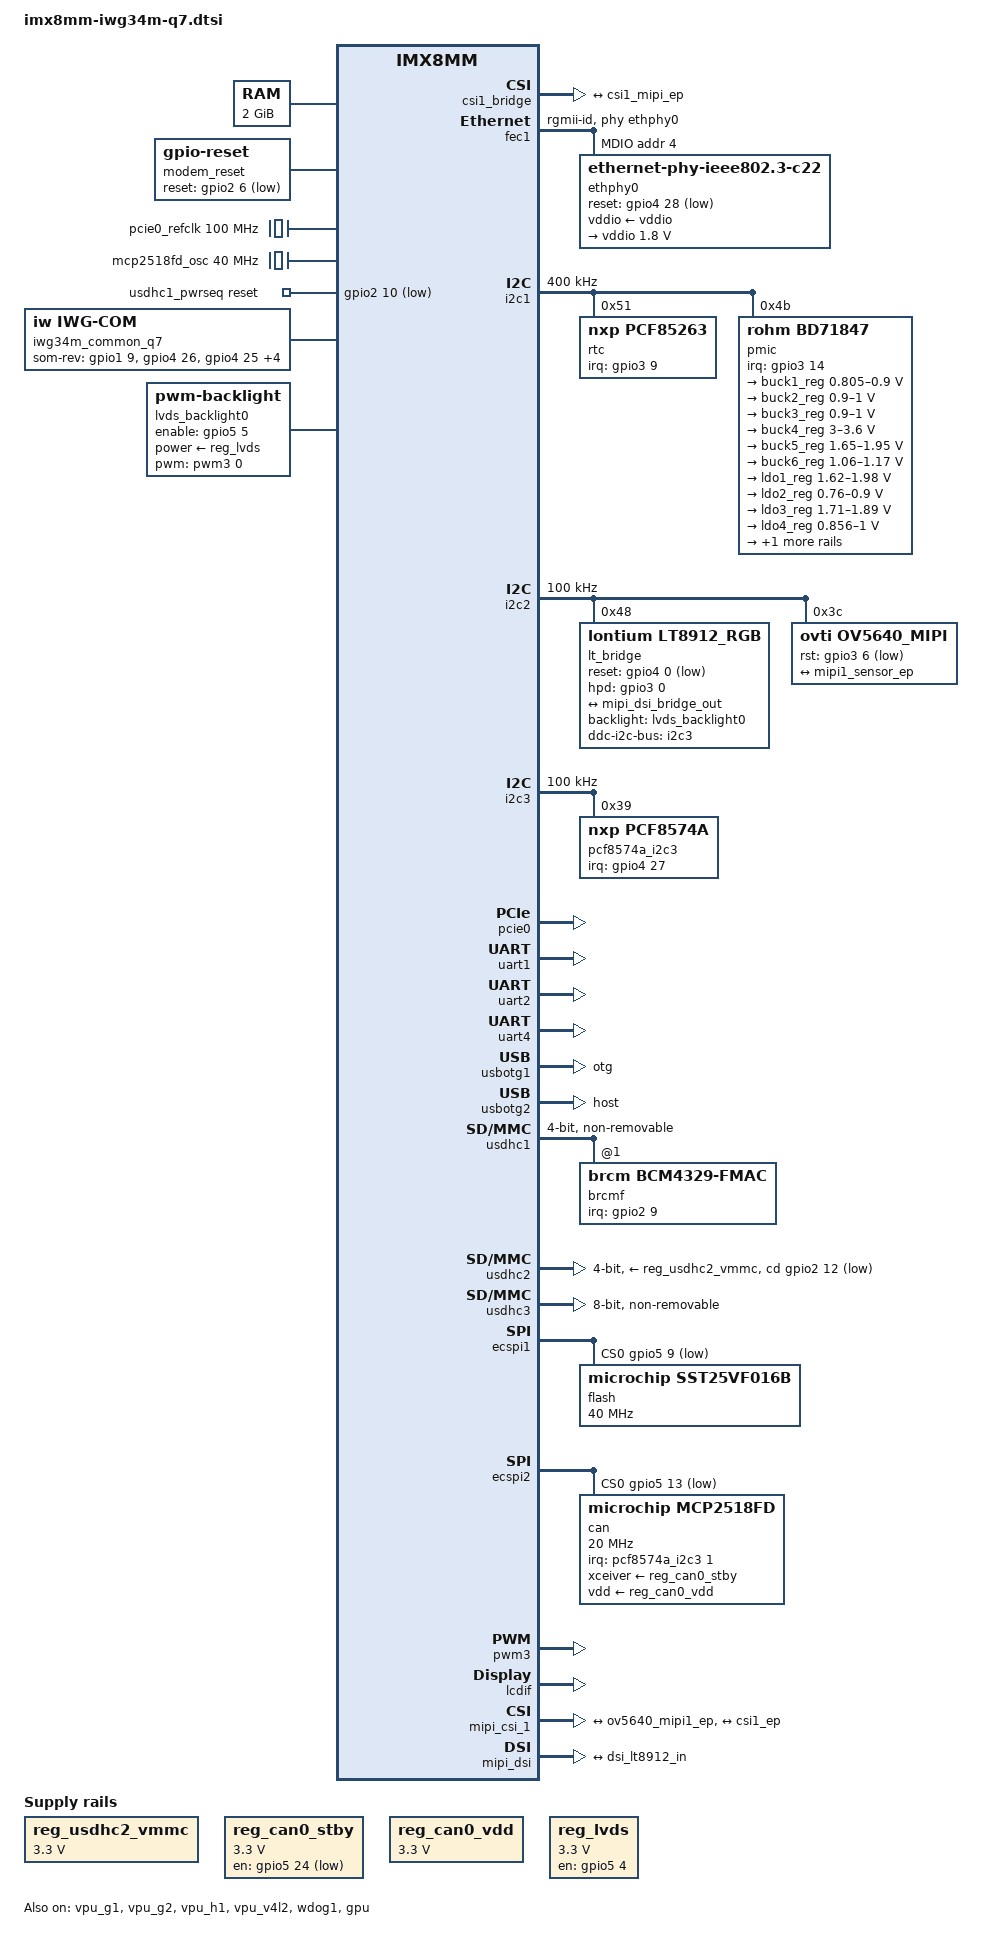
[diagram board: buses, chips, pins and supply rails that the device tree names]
// SPDX-License-Identifier: (GPL-2.0+ OR MIT)
/*
 * Copyright (C) 2022 iWave System Technologies Pvt Ltd.
 *
 * This program is free software; you can redistribute it and/or
 * modify it under the terms of the GNU General Public License
 * as published by the Free Software Foundation; either version 2
 * of the License, or (at your option) any later version.
 *
 * This program is distributed in the hope that it will be useful,
 * but WITHOUT ANY WARRANTY; without even the implied warranty of
 * MERCHANTABILITY or FITNESS FOR A PARTICULAR PURPOSE.  See the
 * GNU General Public License for more details.
 */

/dts-v1/;

#include <dt-bindings/usb/pd.h>
#include "imx8mm.dtsi"

/ {
	chosen {
		stdout-path = &uart4;
	};

	aliases { /* SD/MMC: eMMC/SD slot numbering fix */
		mmc0 = &usdhc3;
		mmc1 = &usdhc2;
		mmc2 = &usdhc1;
	};

	memory@40000000 { /* RAM: 2GB Memory support */
		device_type = "memory";
		reg = <0x0 0x40000000 0 0x80000000>;
	};

	modem_reset: modem-reset { /* BT: BT reset */
		compatible = "gpio-reset";
		reset-gpios = <&gpio2 6 GPIO_ACTIVE_LOW>;
		reset-delay-us = <2000>;
		reset-post-delay-ms = <40>;
		#reset-cells = <0>;
	};

	pcie0_refclk: pcie0-refclk { /* PCIE: Ref clock */
		compatible = "fixed-clock";
		#clock-cells = <0>;
		clock-frequency = <100000000>;
	};

        mcp2518fd_osc: mcp2518fd_osc {
                compatible = "fixed-clock";
                #clock-cells = <0>;
                clock-frequency = <40000000>;
        };

	usdhc1_pwrseq: usdhc1_pwrseq { /* WIFI: WIFI power sequence */
		compatible = "mmc-pwrseq-simple";
		pinctrl-names = "default";
		pinctrl-0 = <&pinctrl_usdhc1_gpio>;
		reset-gpios = <&gpio2 10 GPIO_ACTIVE_LOW>;
	};

	iwg34m_common_q7 { /* SoC Board Setttings : Board Configuration GPIOs and Carrier reset GPIOs */
		compatible = "iw,iwg-com";
		pinctrl-names = "default";
		pinctrl-0 = <&pinctrl_board_cfg>;
		som-rev-gpios = <&gpio1 9 0 &gpio4 26 0 &gpio4 25 0 &gpio5 1 0
                                &gpio1 0 0 &gpio2 19 0 &gpio2 20 0 >;
		carrier_pcb = <0x00>;
		carrier_bom = <0x00>;
		pcb_rev = <0x00>;
		bom_rev = <0x00>;
		status = "okay";
	};

        regulators {
                compatible = "simple-bus";
                #address-cells = <1>;
                #size-cells = <0>;

                reg_usdhc2_vmmc: regulator-usdhc2 { /* USDHC2: Carrier Micro SD: Fixed Regulator */
                        compatible = "regulator-fixed";
                        regulator-name = "VMMC_SD2_3V3";
                        regulator-min-microvolt = <3300000>;
                        regulator-max-microvolt = <3300000>;
                        regulator-always-on;
                };

                reg_can0_stby: regulator-can-stby0 { /* Fixed Regulator: common 3.3V Fixed regulator */
                        compatible = "regulator-fixed";
                        regulator-name = "CAN0_STBY_3P3V";
                        regulator-min-microvolt = <3300000>;
                        regulator-max-microvolt = <3300000>;
                        gpio = <&gpio5 24 GPIO_ACTIVE_LOW>;
                        regulator-always-on;
                };

                reg_can0_vdd: regulator-can-vdd { /* Fixed Regulator: common 3.3V Fixed regulator */
                        compatible = "regulator-fixed";
                        regulator-name = "CAN0_STBY_3P3V_VDD";
                        regulator-min-microvolt = <3300000>;
                        regulator-max-microvolt = <3300000>;
                        regulator-always-on;
                };

                reg_lvds: reg_lvds {
                        compatible = "regulator-fixed";
                        regulator-name = "1P8V_LVDS";
                        regulator-min-microvolt = <3300000>;
                        regulator-max-microvolt = <3300000>;
                        regulator-always-on;
                        pinctrl-names = "default";
                        pinctrl-0 = <&pinctrl_backlight>;
                        gpio = <&gpio5 4 GPIO_ACTIVE_HIGH>;
                        enable-active-high;
                };
        };
	
        lvds_backlight0: lvds_backlight {
                compatible = "pwm-backlight";
                pwms = <&pwm3 0 1000000 0>;
                power-supply = <&reg_lvds>;
                pinctrl-names = "default";
                pinctrl-0 = <&pinctrl_pwr>;
                enable-gpios = <&gpio5 5 GPIO_ACTIVE_HIGH>;
                status = "okay";

                brightness-levels = < 0  1  2  3  4  5  6  7  8  9
                        10 11 12 13 14 15 16 17 18 19
                        20 21 22 23 24 25 26 27 28 29
                        30 31 32 33 34 35 36 37 38 39
                        40 41 42 43 44 45 46 47 48 49
                        50 51 52 53 54 55 56 57 58 59
                        60 61 62 63 64 65 66 67 68 69
                        70 71 72 73 74 75 76 77 78 79
                        80 81 82 83 84 85 86 87 88 89
                        90 91 92 93 94 95 96 97 98 99
                        100>;
                default-brightness-level = <100>;
        };
};

&csi1_bridge {
        fsl,mipi-mode;
        status = "okay";
        port {
                csi1_ep: endpoint {
                        remote-endpoint = <&csi1_mipi_ep>;
                };
        };
};

&ddrc {
        operating-points-v2 = <&ddrc_opp_table>;

        ddrc_opp_table: opp-table {
                compatible = "operating-points-v2";

                opp-25M {
                        opp-hz = /bits/ 64 <25000000>;
                };

                opp-100M {
                        opp-hz = /bits/ 64 <100000000>;
                };

                opp-750M {
                        opp-hz = /bits/ 64 <750000000>;
                };
        };
};

&A53_0 {
	cpu-supply = <&buck2_reg>;
};

&A53_1 {
        cpu-supply = <&buck2_reg>;
};

&A53_2 {
        cpu-supply = <&buck2_reg>;
};

&A53_3 {
        cpu-supply = <&buck2_reg>;
};

&fec1 { /* FEC1: AR8031 PHY ENET */
	pinctrl-names = "default";
	pinctrl-0 = <&pinctrl_fec1>;
	phy-mode = "rgmii-id";
	phy-handle = <&ethphy0>;
	fsl,magic-packet;
	status = "okay";

	mdio {
		#address-cells = <1>;
		#size-cells = <0>;

		ethphy0: ethernet-phy@4 {
			compatible = "ethernet-phy-ieee802.3-c22";
                        reg = <4>;
                        reset-gpios = <&gpio4 28 GPIO_ACTIVE_LOW>;
                        qca,disable-smarteee;
                        vddio-supply = <&vddio>;

                        vddio: vddio-regulator {
                                regulator-min-microvolt = <1800000>;
                                regulator-max-microvolt = <1800000>;
                        };
		};
	};
};

&i2c1 { /* I2C: I2C1 Bus */
	clock-frequency = <400000>;
	pinctrl-names = "default";
	pinctrl-0 = <&pinctrl_i2c1>;
	status = "okay";

	rtc: rtc@51 { /* RTC: PCF85263 RTC */
		compatible = "nxp,pcf85263";
		reg = <0x51>;
		pinctrl-names = "default";
		pinctrl-0 = <&pinctrl_rtc>;
		interrupt-parent = <&gpio3>;
		interrupts = <9 IRQ_TYPE_LEVEL_LOW>;
		status = "okay";
	};

	pmic: pmic@4b { /* PMIC: PMIC BD71847MWV */
		compatible = "rohm,bd71847";
		reg = <0x4b>;
		pinctrl-0 = <&pinctrl_pmic>;
		pinctrl-names = "default";
		interrupt-parent = <&gpio3>;
		interrupts = <14 GPIO_ACTIVE_LOW>;
		rohm,reset-snvs-powered;

		#clock-cells = <0>;
		clocks = <&osc_32k 0>;
		clock-output-names = "clk-32k-out";

		regulators {
			buck1_reg: BUCK1 {
				regulator-name = "BUCK1";
				regulator-min-microvolt = <805000>;
				regulator-max-microvolt = <900000>;
				regulator-boot-on;
				regulator-always-on;
				regulator-ramp-delay = <1250>;
				rohm,dvs-run-voltage = <850000>;
				rohm,dvs-idle-voltage = <850000>;
			};

			buck2_reg: BUCK2 {
				regulator-name = "BUCK2";
				regulator-min-microvolt = <900000>;
				regulator-max-microvolt = <1000000>;
				regulator-boot-on;
				regulator-always-on;
				regulator-ramp-delay = <1250>;
				rohm,dvs-run-voltage = <950000>;
				rohm,dvs-idle-voltage = <950000>;
			};

			buck3_reg: BUCK3 {
				// BUCK5 in datasheet
				regulator-name = "BUCK3";
				regulator-min-microvolt = <900000>;
				regulator-max-microvolt = <1000000>;
				regulator-boot-on;
				regulator-always-on;
			};

			buck4_reg: BUCK4 {
				// BUCK6 in datasheet
				regulator-name = "BUCK4";
				regulator-min-microvolt = <3000000>;
				regulator-max-microvolt = <3600000>;
				regulator-boot-on;
				regulator-always-on;
			};

			buck5_reg: BUCK5 {
				// BUCK7 in datasheet
				regulator-name = "BUCK5";
				regulator-min-microvolt = <1650000>;
				regulator-max-microvolt = <1950000>;
				regulator-boot-on;
				regulator-always-on;
			};

			buck6_reg: BUCK6 {
				// BUCK8 in datasheet
				regulator-name = "BUCK6";
				regulator-min-microvolt = <1060000>;
				regulator-max-microvolt = <1170000>;
				regulator-boot-on;
				regulator-always-on;
			};

			ldo1_reg: LDO1 {
				regulator-name = "LDO1";
				regulator-min-microvolt = <1620000>;
				regulator-max-microvolt = <1980000>;
				regulator-boot-on;
				regulator-always-on;
			};

			ldo2_reg: LDO2 {
				regulator-name = "LDO2";
				regulator-min-microvolt = <760000>;
				regulator-max-microvolt = <900000>;
				regulator-boot-on;
				regulator-always-on;
			};

			ldo3_reg: LDO3 {
				regulator-name = "LDO3";
				regulator-min-microvolt = <1710000>;
				regulator-max-microvolt = <1890000>;
				regulator-boot-on;
				regulator-always-on;
			};

			ldo4_reg: LDO4 {
				regulator-name = "LDO4";
				regulator-min-microvolt = <855500>;
				regulator-max-microvolt = <1000000>;
				regulator-boot-on;
				regulator-always-on;
			};

			ldo6_reg: LDO6 {
				regulator-name = "LDO6";
				regulator-min-microvolt = <1140000>;
				regulator-max-microvolt = <1260000>;
				regulator-boot-on;
				regulator-always-on;
			};
		};
	};
};

&i2c2 { /* I2C: I2C2 Bus */
	clock-frequency = <100000>;
	pinctrl-names = "default";
	pinctrl-0 = <&pinctrl_i2c2>;
	status = "okay";

        lt_bridge: lt8912@48 {
                compatible = "lontium,lt8912_rgb";
                reg = <0x48>;
                pinctrl-names = "default";
                pinctrl-0 = <&pinctrl_lt8912>;
                ddc-i2c-bus = <&i2c3>;
                reset-gpios = <&gpio4 0 GPIO_ACTIVE_LOW>;
                hpd-gpios = <&gpio3 0 GPIO_ACTIVE_HIGH>;
                digi,dsi-lanes = <4>;
                backlight = <&lvds_backlight0>;
                status = "okay";

                display-timings {
                native-mode = <&timing0>;

        timing0: timing0 {
                clock-frequency = <33264000>;
                hactive = <800>;
                vactive = <480>;
                hback-porch = <88>;
                hfront-porch = <40>;
                vback-porch = <33>;
                vfront-porch = <10>;
                hsync-len = <128>;
                vsync-len = <2>;
                hsync-active = <0>;
                vsync-active = <0>;
                de-active = <0>;
                pixelclk-active = <0>;
                };
        };

        port {
			dsi_lt8912_in: endpoint {
                        remote-endpoint = <&mipi_dsi_bridge_out>;
                        };
                };
        };
	
        ov5640_mipi: ov5640_mipi@3c { /* MIPI CSI: OV5640 Camera */
                compatible = "ovti,ov5640_mipi";
                reg = <0x3c>;
                status = "okay";
                pinctrl-names = "default";
                pinctrl-0 = <&pinctrl_csi_rst>;
                clocks = <&clk IMX8MM_CLK_CLKO1>;
                clock-names = "csi_mclk";
                assigned-clocks = <&clk IMX8MM_CLK_CLKO1>;
                assigned-clock-parents = <&clk IMX8MM_CLK_24M>;
                assigned-clock-rates = <24000000>;
                csi_id = <0>;
                rst-gpios = <&gpio3 6 GPIO_ACTIVE_LOW>;
                mclk = <24000000>;
                mclk_source = <0>;
                        port {
                               ov5640_mipi1_ep: endpoint {
                               remote-endpoint = <&mipi1_sensor_ep>;
                        };
                };
        };
};

&i2c3 { /* I2C: I2C3 Bus */
        clock-frequency = <100000>;
        pinctrl-names = "default";
        pinctrl-0 = <&pinctrl_i2c3>;
        status = "okay";

        pcf8574a_i2c3: gpio@39 {
                compatible = "nxp,pcf8574a";
                reg = <0x39>;
                pinctrl-names = "default";
                pinctrl-0 = <&pinctrl_io>;
                wakeup-source;
                gpio-controller;
                #gpio-cells=<2>;
                interrupt-controller;
                #interrupt-cells=<2>;
                interrupt-parent = <&gpio4>;
                interrupts = <27 IRQ_TYPE_LEVEL_LOW>;
                status="okay";
        };
};

&pcie0{ /* PCIE: PCIe0 */
	pinctrl-names = "default";
	pinctrl-0 = <&pinctrl_pcie0>;
	disable-gpio = <&gpio1 11 GPIO_ACTIVE_LOW>;
	clocks = <&clk IMX8MM_CLK_PCIE1_ROOT>,
		 <&clk IMX8MM_CLK_PCIE1_AUX>,
		 <&clk IMX8MM_CLK_PCIE1_PHY>,
		 <&pcie0_refclk>;
	clock-names = "pcie", "pcie_aux", "pcie_phy", "pcie_bus";
	assigned-clocks = <&clk IMX8MM_CLK_PCIE1_AUX>,
			  <&clk IMX8MM_CLK_PCIE1_PHY>,
			  <&clk IMX8MM_CLK_PCIE1_CTRL>;
	assigned-clock-rates = <10000000>, <100000000>, <250000000>;
	assigned-clock-parents = <&clk IMX8MM_SYS_PLL2_50M>,
				 <&clk IMX8MM_SYS_PLL2_100M>,
				 <&clk IMX8MM_SYS_PLL2_250M>;
	ext_osc = <0>;
	status = "okay";
};

&uart1 { /* UART1: Bluetooth */
	pinctrl-names = "default";
	pinctrl-0 = <&pinctrl_uart1>;
	assigned-clocks = <&clk IMX8MM_CLK_UART1>;
	assigned-clock-parents = <&clk IMX8MM_SYS_PLL1_80M>;
	fsl,uart-has-rtscts;
	resets = <&modem_reset>;
	status = "okay";
};

&uart2 { /* UART2: Data UART */
	pinctrl-names = "default";
	pinctrl-0 = <&pinctrl_uart2>;
	assigned-clocks = <&clk IMX8MM_CLK_UART2>;
	assigned-clock-parents = <&clk IMX8MM_SYS_PLL1_80M>;
	fsl,uart-has-rtscts;
	status = "okay";
};

&uart3 { /* UART3: M4 UART */
	pinctrl-names = "default";
	pinctrl-0 = <&pinctrl_uart3>;
	assigned-clocks = <&clk IMX8MM_CLK_UART3>;
	assigned-clock-parents = <&clk IMX8MM_SYS_PLL1_80M>;
	status = "disabled";
};

&uart4 { /* UART4: Debug UART */
	pinctrl-names = "default";
	pinctrl-0 = <&pinctrl_uart4>;
	status = "okay";
};

&usbotg1 { /* USB1: USB OTG */
	pinctrl-names = "default";
	pinctrl-0 = <&pinctrl_usbotg1>;
	otg-pwr-gpio = <&gpio1 12 GPIO_ACTIVE_LOW>;
	otg-oc-gpio = <&gpio1 13 GPIO_ACTIVE_LOW>;
	dr_mode = "otg";
        hnp-disable;
        srp-disable;
        adp-disable;
	samsung,picophy-pre-emp-curr-control = <3>;
	samsung,picophy-dc-vol-level-adjust = <7>;
	status = "okay";
};

&usbotg2 { /* USB2: USB Host (2 ports via HUB) */
	pinctrl-names = "default";
        pinctrl-0 = <&pinctrl_usbotg2>;
	dr_mode = "host";
	disable-over-current;
	status = "okay";
};

&usdhc1 { /* USDHC1: WiFi */
	#address-cells = <1>;
	#size-cells = <0>;
	pinctrl-names = "default", "state_100mhz", "state_200mhz";
	pinctrl-0 = <&pinctrl_usdhc1>, <&pinctrl_wlan>;
	pinctrl-1 = <&pinctrl_usdhc1_100mhz>, <&pinctrl_wlan>;
	pinctrl-2 = <&pinctrl_usdhc1_200mhz>, <&pinctrl_wlan>;
	bus-width = <4>;
	pm-ignore-notify;
	keep-power-in-suspend;
	non-removable;
	cap-power-off-card;
	mmc-pwrseq = <&usdhc1_pwrseq>;
	status = "okay";

	brcmf: bcrmf@1 {
		reg = <1>;
		compatible = "brcm,bcm4329-fmac";
		interrupt-parent = <&gpio2>;
		interrupts = <9 IRQ_TYPE_LEVEL_HIGH>;
		interrupt-names = "host-wake";
		status = "okay";
	};
};

&usdhc2 { /* USDHC2: Carrier Micro SD */
	pinctrl-names = "default", "state_100mhz", "state_200mhz";
	pinctrl-0 = <&pinctrl_usdhc2>, <&pinctrl_usdhc2_gpio>;
	pinctrl-1 = <&pinctrl_usdhc2_100mhz>, <&pinctrl_usdhc2_gpio>;
	pinctrl-2 = <&pinctrl_usdhc2_200mhz>, <&pinctrl_usdhc2_gpio>;
	no-1-8-v; /* Carrier board supports only Highspeed mode */
	cd-gpios = <&gpio2 12 GPIO_ACTIVE_LOW>;
	bus-width = <4>;
	vmmc-supply = <&reg_usdhc2_vmmc>;
	status = "okay";
};

&usdhc3 {  /* USDHC3: EMMC */
	pinctrl-names = "default", "state_100mhz", "state_200mhz";
	pinctrl-0 = <&pinctrl_usdhc3>;
	pinctrl-1 = <&pinctrl_usdhc3_100mhz>;
	pinctrl-2 = <&pinctrl_usdhc3_200mhz>;
	bus-width = <8>;
	non-removable;
	status = "okay";
};

&vpu_g1 {
	status = "okay";
};

&vpu_g2 {
	status = "okay";
};

&vpu_h1 {
	status = "okay";
};

&vpu_v4l2 {
	status = "okay";
};

&wdog1 { /* Watchdog */
	pinctrl-names = "default";
	pinctrl-0 = <&pinctrl_wdog>;
	fsl,ext-reset-output;
	status = "okay";
};

&gpu { /* GPU */
	status = "okay";
};

&ecspi1 { /* ECSPI1: Accessed through Expansion, not mounted by default */
	fsl,spi-num-chipselects = <1>;
	pinctrl-names = "default";
	pinctrl-0 = <&pinctrl_ecspi1>;
	cs-gpios = <&gpio5 9 GPIO_ACTIVE_LOW>;
	status = "okay";

        flash: m25p80@0 {
                #address-cells = <1>;
                #size-cells = <1>;
                compatible = "microchip,sst25vf016b", "jedec,spi-nor";
                spi-max-frequency = <40000000>;
                reg = <0>;
        };
};

&ecspi2 {
        #address-cells = <1>;
        #size-cells = <0>;
        pinctrl-names = "default";
        pinctrl-0 = <&pinctrl_ecspi2>;
        spi-max-frequency = <20000000>;
        cs-gpios = <&gpio5 13 GPIO_ACTIVE_LOW>;
        fsl,spi-num-chipselects = <1>;
        status = "okay";

        can: can@0 {
                reg = <0>;
                compatible = "microchip,mcp2518fd";
                pinctrl-names = "default";
                spi-max-frequency = <20000000>;
                interrupt-parent = <&pcf8574a_i2c3>;
                interrupts = <1 IRQ_TYPE_LEVEL_LOW>;
                microchip,clock-always-on;
                microchip,clock-out-div = <1>;
                clocks = <&mcp2518fd_osc>;
                xceiver-supply = <&reg_can0_stby>;
                vdd-supply = <&reg_can0_vdd>;
                microchip,gpio0-xstandby;
        };
};

&pwm3 { /* PWM: PWM3 Control */
	pinctrl-names = "default";
	pinctrl-0 = <&pinctrl_pwm3>;
        status = "okay";
};

&lcdif {
        status = "okay";
};

&mipi_csi_1 { /* MIPI CSI: OV5640 MIPI Camera */
        #address-cells = <1>;
        #size-cells = <0>;
        status = "okay";
        port {
                mipi1_sensor_ep: endpoint@1 {
                        remote-endpoint = <&ov5640_mipi1_ep>;
                        data-lanes = <2>;
                        csis-hs-settle = <13>;
                        csis-clk-settle = <2>;
                        csis-wclk;
                };

                csi1_mipi_ep: endpoint@2 {
                        remote-endpoint = <&csi1_ep>;
                };
        };
};

&mipi_dsi { /* MIPI DSI: MIPI To HDMI Bridge*/
        status = "okay";

        port@1 {
                mipi_dsi_bridge_out: endpoint {
                        remote-endpoint = <&dsi_lt8912_in>;
                        attach-bridge;
                };
        };
};

&iomuxc {

	imx8mm-iwg34m-q7 {

		pinctrl_fec1: fec1grp { /* Ethernet: IOMUX Pin Configuration */
			fsl,pins = <
				MX8MM_IOMUXC_ENET_MDC_ENET1_MDC			0x3
				MX8MM_IOMUXC_ENET_MDIO_ENET1_MDIO		0x3
				MX8MM_IOMUXC_ENET_TD3_ENET1_RGMII_TD3		0x1f
				MX8MM_IOMUXC_ENET_TD2_ENET1_RGMII_TD2		0x1f
				MX8MM_IOMUXC_ENET_TD1_ENET1_RGMII_TD1		0x1f
				MX8MM_IOMUXC_ENET_TD0_ENET1_RGMII_TD0		0x1f
				MX8MM_IOMUXC_ENET_RD3_ENET1_RGMII_RD3		0x91
				MX8MM_IOMUXC_ENET_RD2_ENET1_RGMII_RD2		0x91
				MX8MM_IOMUXC_ENET_RD1_ENET1_RGMII_RD1		0x91
				MX8MM_IOMUXC_ENET_RD0_ENET1_RGMII_RD0		0x91
				MX8MM_IOMUXC_ENET_TXC_ENET1_RGMII_TXC		0x1f
				MX8MM_IOMUXC_ENET_RXC_ENET1_RGMII_RXC		0x91
				MX8MM_IOMUXC_ENET_RX_CTL_ENET1_RGMII_RX_CTL	0x91
				MX8MM_IOMUXC_ENET_TX_CTL_ENET1_RGMII_TX_CTL	0x1f
                                MX8MM_IOMUXC_SAI5_RXC_GPIO3_IO20                0x19 /* Ethernet Wake on LAN */
                                MX8MM_IOMUXC_SAI5_RXFS_GPIO3_IO19               0x19 /* Ethernet Interrup */
				MX8MM_IOMUXC_SAI3_RXFS_GPIO4_IO28		0x19 /* Ethernet Reset GPIO */
			>;
		};

		pinctrl_i2c1: i2c1grp { /* I2C1: IOMUX Pin Configuration */
			fsl,pins = <
				MX8MM_IOMUXC_I2C1_SCL_I2C1_SCL			0x400001c3
				MX8MM_IOMUXC_I2C1_SDA_I2C1_SDA			0x400001c3
			>;
		};

		pinctrl_i2c2: i2c2grp { /* I2C2: IOMUX Pin Configuration */
                        fsl,pins = <
                                MX8MM_IOMUXC_I2C2_SCL_I2C2_SCL                  0x400001c3
                                MX8MM_IOMUXC_I2C2_SDA_I2C2_SDA                  0x400001c3
                        >;
                };

                pinctrl_i2c3: i2c3grp { /* I2C3: IOMUX Pin Configuration */
                        fsl,pins = <
                                MX8MM_IOMUXC_I2C3_SCL_I2C3_SCL                  0x400001c3
                                MX8MM_IOMUXC_I2C3_SDA_I2C3_SDA                  0x400001c3
                        >;
                };

		pinctrl_pcie0: pcie0grp { /* PCIe0: IOMUX Pin Configuration */
			fsl,pins = <
                                MX8MM_IOMUXC_I2C4_SCL_PCIE1_CLKREQ_B            0x61 /* open drain, pull up */
				MX8MM_IOMUXC_GPIO1_IO11_GPIO1_IO11		0x41 /* Disable GPIO */
			>;
		};

		pinctrl_pmic: pmicirq { /* PMIC: IOMUX Pin Configuration */
			fsl,pins = <
				MX8MM_IOMUXC_NAND_DQS_GPIO3_IO14		0x41 /* PMIC Interrupt GPIO */
			>;
		};

		pinctrl_rtc: rtcirq { /* RTC: IOMUX Pin Configuration */
			fsl,pins = <
				MX8MM_IOMUXC_NAND_DATA03_GPIO3_IO9		0x41 /* RTC Interrupt GPIO */
			>;
		};
	
                pinctrl_lt8912: lt8912grp {
                        fsl,pins = <
                                MX8MM_IOMUXC_NAND_ALE_GPIO3_IO0                 0x19 /* Interrupt GPIO */
                                MX8MM_IOMUXC_SAI1_RXFS_GPIO4_IO0                0x19 /* Reset GPIO */
                        >;
                };
		
                pinctrl_csi_rst: csi_rst_grp { /* MIPI CSI: OV5640 Camera IOMUX Pin Configuration */
                        fsl,pins = <
                                MX8MM_IOMUXC_NAND_DATA00_GPIO3_IO6              0x19 /* MIPI OV5640 Camera Reset GPIO */
                                MX8MM_IOMUXC_NAND_DATA02_GPIO3_IO8              0x19
                        >;
                };
		
                pinctrl_io: iogrp { /* IO expander Pin Configuration */
                        fsl,pins = <
                                MX8MM_IOMUXC_SAI2_MCLK_GPIO4_IO27               0x41
                        >;
                };
	
                pinctrl_backlight: backlight_grp {
                        fsl,pins = <
                                MX8MM_IOMUXC_SPDIF_EXT_CLK_GPIO5_IO5            0x41
                        >;
                };
	
                pinctrl_pwr: pwr_grp {
                        fsl,pins = <
                                MX8MM_IOMUXC_SPDIF_RX_GPIO5_IO4                 0x41
                        >;
                };

		pinctrl_uart1: uart1grp { /* UART1: Bluetooth: IOMUX Pin Configuration */
			fsl,pins = <
                                MX8MM_IOMUXC_SAI2_RXFS_UART1_TX                 0x140
                                MX8MM_IOMUXC_SAI2_RXC_UART1_RX                  0x140
                                MX8MM_IOMUXC_SAI2_RXD0_UART1_RTS_B              0x140
                                MX8MM_IOMUXC_SAI2_TXFS_UART1_CTS_B              0x140
                                MX8MM_IOMUXC_SD1_DATA4_GPIO2_IO6                0x19 /* Bluetooth Reset GPIO */
			>;
		};

		pinctrl_uart2: uart2grp { /* UART2: DATA UART: IOMUX Pin Configuration */
                        fsl,pins = <
                                MX8MM_IOMUXC_SAI3_TXC_UART2_TX                  0x140
                                MX8MM_IOMUXC_SAI3_TXFS_UART2_RX                 0x140
                                MX8MM_IOMUXC_SAI3_RXC_UART2_CTS_B               0x140
                                MX8MM_IOMUXC_SAI3_RXD_UART2_RTS_B               0x140
                        >;
                };

		pinctrl_uart3: uart3grp { /* UART4: M4 UART */
			fsl,pins = <
				MX8MM_IOMUXC_UART3_TXD_UART3_DCE_TX		0x140
				MX8MM_IOMUXC_UART3_RXD_UART3_DCE_RX		0x140
			>;
		};

		pinctrl_uart4: uart4grp { /* UART4: Debug UART: IOMUX Pin Configuration */
			fsl,pins = <
				MX8MM_IOMUXC_UART4_RXD_UART4_DCE_RX		0x140
				MX8MM_IOMUXC_UART4_TXD_UART4_DCE_TX		0x140
			>;
		};

		pinctrl_usdhc1: usdhc1grp { /* USDHC1: SOM Micro SD/WiFi: IOMUX Pin Configuration */
			fsl,pins = <
				MX8MM_IOMUXC_SD1_CLK_USDHC1_CLK         	0x190
				MX8MM_IOMUXC_SD1_CMD_USDHC1_CMD         	0x1d0
				MX8MM_IOMUXC_SD1_DATA0_USDHC1_DATA0     	0x1d0
				MX8MM_IOMUXC_SD1_DATA1_USDHC1_DATA1     	0x1d0
				MX8MM_IOMUXC_SD1_DATA2_USDHC1_DATA2     	0x1d0
				MX8MM_IOMUXC_SD1_DATA3_USDHC1_DATA3     	0x1d0
                                MX8MM_IOMUXC_SD1_STROBE_GPIO2_IO11      	0x159
                                MX8MM_IOMUXC_GPIO1_IO03_GPIO1_IO3       	0x016
			>;
		};

		pinctrl_usdhc1_100mhz: usdhc1grp100mhz {
			fsl,pins = <
				MX8MM_IOMUXC_SD1_CLK_USDHC1_CLK         	0x194
				MX8MM_IOMUXC_SD1_CMD_USDHC1_CMD         	0x1d4
				MX8MM_IOMUXC_SD1_DATA0_USDHC1_DATA0     	0x1d4
				MX8MM_IOMUXC_SD1_DATA1_USDHC1_DATA1     	0x1d4
				MX8MM_IOMUXC_SD1_DATA2_USDHC1_DATA2     	0x1d4
				MX8MM_IOMUXC_SD1_DATA3_USDHC1_DATA3     	0x1d4
                                MX8MM_IOMUXC_SD1_STROBE_GPIO2_IO11      	0x159
                                MX8MM_IOMUXC_GPIO1_IO03_GPIO1_IO3       	0x016
			>;
		};

		pinctrl_usdhc1_200mhz: usdhc1grp200mhz {
			fsl,pins = <
				MX8MM_IOMUXC_SD1_CLK_USDHC1_CLK			0x196
				MX8MM_IOMUXC_SD1_CMD_USDHC1_CMD			0x1d6
				MX8MM_IOMUXC_SD1_DATA0_USDHC1_DATA0		0x1d6
				MX8MM_IOMUXC_SD1_DATA1_USDHC1_DATA1		0x1d6
				MX8MM_IOMUXC_SD1_DATA2_USDHC1_DATA2		0x1d6
				MX8MM_IOMUXC_SD1_DATA3_USDHC1_DATA3		0x1d6
                                MX8MM_IOMUXC_SD1_STROBE_GPIO2_IO11      	0x159
                                MX8MM_IOMUXC_GPIO1_IO03_GPIO1_IO3       	0x016
			>;
		};
	
		pinctrl_usdhc1_gpio: usdhc1grpgpio { /* USDHC1: WiFi: Reset GPIO IOMUX Pin Configuration */
			fsl,pins = <
				MX8MM_IOMUXC_SD1_RESET_B_GPIO2_IO10		0x41 /* WIFI Reset GPIO */
			>;
		};

		pinctrl_wlan: wlangrp { /* WiFi: IOMUX Pin Configuration */
                        fsl,pins = <
                                MX8MM_IOMUXC_SD1_DATA7_GPIO2_IO9                0x111 /* WIFI Host Wake GPIO */
                        >;
                };

		pinctrl_usdhc2: usdhc2grp { /* USDHC2: Carrier Micro SD: IOMUX Pin Configuration */
			fsl,pins = <
				MX8MM_IOMUXC_SD2_CLK_USDHC2_CLK			0x190
				MX8MM_IOMUXC_SD2_CMD_USDHC2_CMD			0x1d0
				MX8MM_IOMUXC_SD2_DATA0_USDHC2_DATA0		0x1d0
				MX8MM_IOMUXC_SD2_DATA1_USDHC2_DATA1		0x1d0
				MX8MM_IOMUXC_SD2_DATA2_USDHC2_DATA2		0x1d0
				MX8MM_IOMUXC_SD2_DATA3_USDHC2_DATA3		0x1d0
				MX8MM_IOMUXC_GPIO1_IO04_USDHC2_VSELECT  	0x1d0
			>;
		};

		pinctrl_usdhc2_100mhz: usdhc2grp100mhz {
			fsl,pins = <
				MX8MM_IOMUXC_SD2_CLK_USDHC2_CLK			0x194
				MX8MM_IOMUXC_SD2_CMD_USDHC2_CMD			0x1d4
				MX8MM_IOMUXC_SD2_DATA0_USDHC2_DATA0		0x1d4
				MX8MM_IOMUXC_SD2_DATA1_USDHC2_DATA1		0x1d4
				MX8MM_IOMUXC_SD2_DATA2_USDHC2_DATA2		0x1d4
				MX8MM_IOMUXC_SD2_DATA3_USDHC2_DATA3		0x1d4
				MX8MM_IOMUXC_GPIO1_IO04_USDHC2_VSELECT  	0x1d0
			>;
		};

		pinctrl_usdhc2_200mhz: usdhc2grp200mhz {
			fsl,pins = <
				MX8MM_IOMUXC_SD2_CLK_USDHC2_CLK			0x196
				MX8MM_IOMUXC_SD2_CMD_USDHC2_CMD			0x1d6
				MX8MM_IOMUXC_SD2_DATA0_USDHC2_DATA0		0x1d6
				MX8MM_IOMUXC_SD2_DATA1_USDHC2_DATA1		0x1d6
				MX8MM_IOMUXC_SD2_DATA2_USDHC2_DATA2		0x1d6
				MX8MM_IOMUXC_SD2_DATA3_USDHC2_DATA3		0x1d6
				MX8MM_IOMUXC_GPIO1_IO04_USDHC2_VSELECT  	0x1d0
			>;
		};

		pinctrl_usdhc2_gpio: usdhc2grpgpio { /* USDHC2: Carrier Micro SD: Card Detect GPIO IOMUX Pin Configuration */
			fsl,pins = <
                                MX8MM_IOMUXC_SD2_CD_B_GPIO2_IO12        	0x41 /* SD2 Card Detect GPIO */
                                MX8MM_IOMUXC_GPIO1_IO01_GPIO1_IO1       	0x41
			>;
		};

		pinctrl_usdhc3: usdhc3grp { /* USDHC3: EMMC: IOMUX Pin Configuration*/
			fsl,pins = <
				MX8MM_IOMUXC_NAND_WE_B_USDHC3_CLK		0x190
				MX8MM_IOMUXC_NAND_WP_B_USDHC3_CMD		0x1d0
				MX8MM_IOMUXC_NAND_DATA04_USDHC3_DATA0		0x1d0
				MX8MM_IOMUXC_NAND_DATA05_USDHC3_DATA1		0x1d0
				MX8MM_IOMUXC_NAND_DATA06_USDHC3_DATA2		0x1d0
				MX8MM_IOMUXC_NAND_DATA07_USDHC3_DATA3		0x1d0
				MX8MM_IOMUXC_NAND_RE_B_USDHC3_DATA4		0x1d0
				MX8MM_IOMUXC_NAND_CE2_B_USDHC3_DATA5		0x1d0
				MX8MM_IOMUXC_NAND_CE3_B_USDHC3_DATA6		0x1d0
				MX8MM_IOMUXC_NAND_CLE_USDHC3_DATA7		0x1d0
				MX8MM_IOMUXC_NAND_READY_B_USDHC3_RESET_B	0x1d0	
				MX8MM_IOMUXC_NAND_CE1_B_USDHC3_STROBE		0x190
			>;
		};

		pinctrl_usdhc3_100mhz: usdhc3grp100mhz {
			fsl,pins = <
				MX8MM_IOMUXC_NAND_WE_B_USDHC3_CLK		0x194
				MX8MM_IOMUXC_NAND_WP_B_USDHC3_CMD		0x1d4
				MX8MM_IOMUXC_NAND_DATA04_USDHC3_DATA0		0x1d4
				MX8MM_IOMUXC_NAND_DATA05_USDHC3_DATA1		0x1d4
				MX8MM_IOMUXC_NAND_DATA06_USDHC3_DATA2		0x1d4
				MX8MM_IOMUXC_NAND_DATA07_USDHC3_DATA3		0x1d4
				MX8MM_IOMUXC_NAND_RE_B_USDHC3_DATA4		0x1d4
				MX8MM_IOMUXC_NAND_CE2_B_USDHC3_DATA5		0x1d4
				MX8MM_IOMUXC_NAND_CE3_B_USDHC3_DATA6		0x1d4
				MX8MM_IOMUXC_NAND_CLE_USDHC3_DATA7		0x1d4
				MX8MM_IOMUXC_NAND_READY_B_USDHC3_RESET_B        0x1d4
				MX8MM_IOMUXC_NAND_CE1_B_USDHC3_STROBE		0x194
			>;
		};

		pinctrl_usdhc3_200mhz: usdhc3grp200mhz {
			fsl,pins = <
				MX8MM_IOMUXC_NAND_WE_B_USDHC3_CLK		0x196
				MX8MM_IOMUXC_NAND_WP_B_USDHC3_CMD		0x1d6
				MX8MM_IOMUXC_NAND_DATA04_USDHC3_DATA0		0x1d6
				MX8MM_IOMUXC_NAND_DATA05_USDHC3_DATA1		0x1d6
				MX8MM_IOMUXC_NAND_DATA06_USDHC3_DATA2		0x1d6
				MX8MM_IOMUXC_NAND_DATA07_USDHC3_DATA3		0x1d6
				MX8MM_IOMUXC_NAND_RE_B_USDHC3_DATA4		0x1d6
				MX8MM_IOMUXC_NAND_CE2_B_USDHC3_DATA5		0x1d6
				MX8MM_IOMUXC_NAND_CE3_B_USDHC3_DATA6		0x1d6
				MX8MM_IOMUXC_NAND_CLE_USDHC3_DATA7		0x1d6
				MX8MM_IOMUXC_NAND_READY_B_USDHC3_RESET_B        0x1d6
				MX8MM_IOMUXC_NAND_CE1_B_USDHC3_STROBE		0x196
			>;
		};

		pinctrl_board_cfg: brd_cfg { /* SoC Board Settings: IOMUX Pin Configuration */
			fsl,pins = <
                                MX8MM_IOMUXC_SD2_WP_GPIO2_IO20                  0x1d5
                                MX8MM_IOMUXC_SD2_RESET_B_GPIO2_IO19             0x1d5
                                MX8MM_IOMUXC_GPIO1_IO00_GPIO1_IO0               0x1d5
                                MX8MM_IOMUXC_SAI3_TXD_GPIO5_IO1                 0x1d5
                                MX8MM_IOMUXC_SAI2_TXC_GPIO4_IO25                0x1d5
                                MX8MM_IOMUXC_GPIO1_IO09_GPIO1_IO9               0x1d5
                                MX8MM_IOMUXC_SAI2_TXD0_GPIO4_IO26               0x1d5
			>;
		};

		pinctrl_usbotg2: usb2grp { /* USB2: USB Hub IOMUX Pin Configuration */
                        fsl,pins = <
                                MX8MM_IOMUXC_GPIO1_IO14_GPIO1_IO14		0x41 /*USB2 Power Enable GPIO*/
                                MX8MM_IOMUXC_GPIO1_IO15_GPIO1_IO15		0x41 /*USB2 Over Current GPIO*/
                        >;
                };
		
		pinctrl_usbotg1: usb1grp { /* USB1: USB OTG IOMUX Pin COnfiguration */
			fsl,pins = <
				MX8MM_IOMUXC_GPIO1_IO13_GPIO1_IO13      	0x41 /*USB1 Over Current GPIO*/
				MX8MM_IOMUXC_GPIO1_IO12_GPIO1_IO12     		0x41 /*USB1 Power Enable GPIO*/
			>;
		};

		pinctrl_wdog: wdoggrp { /* WATCHDOG: IOMUX Pin Configuration */
			fsl,pins = <
				MX8MM_IOMUXC_GPIO1_IO02_WDOG1_WDOG_B            0x166
			>;
		};

		pinctrl_ecspi1: ecspi1grp { /* ECSPI : ECSPI1 IOMUX Pin Configuration */
			fsl,pins = <
                                MX8MM_IOMUXC_ECSPI1_SCLK_ECSPI1_SCLK            0x140
                                MX8MM_IOMUXC_ECSPI1_MOSI_ECSPI1_MOSI            0x140
                                MX8MM_IOMUXC_ECSPI1_MISO_ECSPI1_MISO            0x140
                                MX8MM_IOMUXC_ECSPI1_SS0_GPIO5_IO9               0x41
			>;
		};

		pinctrl_ecspi2: ecspi2grp { /* ECSPI : ECSPI2 IOMUX Pin Configuration */
			fsl,pins = <
                                MX8MM_IOMUXC_ECSPI2_SCLK_ECSPI2_SCLK            0x140
                                MX8MM_IOMUXC_ECSPI2_MOSI_ECSPI2_MOSI            0x140
                                MX8MM_IOMUXC_ECSPI2_MISO_ECSPI2_MISO            0x140
                                MX8MM_IOMUXC_ECSPI2_SS0_GPIO5_IO13              0x41
			>;
		};

		pinctrl_pwm3: pwm3grp { /* PWM: PWM3 IOMUX Pin Configuration */
			fsl,pins = <
				MX8MM_IOMUXC_SPDIF_TX_PWM3_OUT                  0x6
			>;
		};
	};
};
